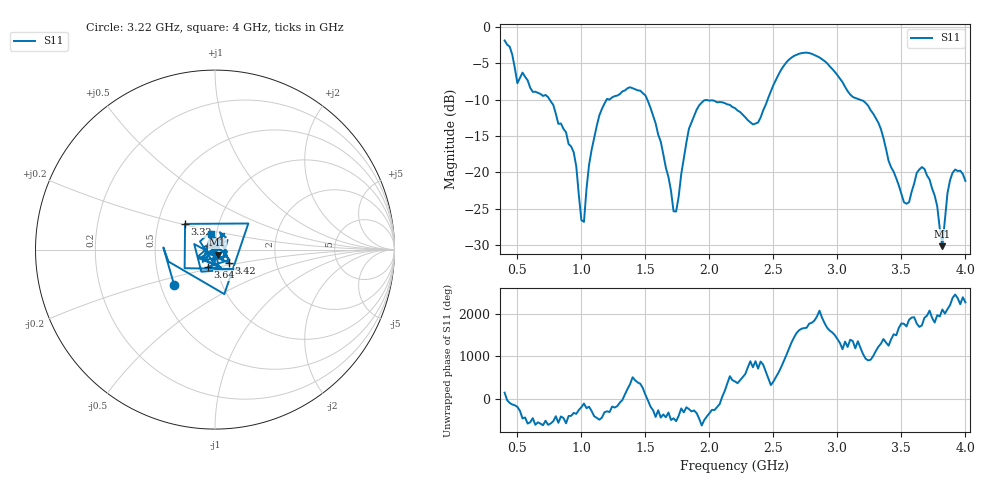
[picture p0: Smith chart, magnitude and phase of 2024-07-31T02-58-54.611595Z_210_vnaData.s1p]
!Created with skrf (http://scikit-rf.org).
# Hz S RI R 50.0
!freq ReS11 ImS11
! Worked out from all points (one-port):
!   181 points, 400 MHz to 4 GHz, reference 50 ohm
!   lowest |S11| = -30.2 dB at 3.82 GHz (marker M1), VSWR 1.06, Z = 51.3 - j2.84 ohm
!   |S11| at or under -10 dB: 752.2 MHz to 1.197 GHz (444.3 MHz wide, 45.6 % of centre); 1.515 GHz to 2.454 GHz (939.4 MHz wide, 47.3 % of centre); 3.177 GHz to end of sweep
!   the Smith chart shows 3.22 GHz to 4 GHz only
!   S11 on the Smith chart (normalised r, x): 3.22 GHz: 0.59, -0.26; 3.32 GHz: 0.69, +0.21; 3.42 GHz: 1.16, -0.18; 3.64 GHz: 0.91, -0.18; 4 GHz: 0.94, +0.16
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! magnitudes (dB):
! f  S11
! 400 MHz  -1.8
! 500 MHz  -7.7
! 740 MHz  -9.7
! 860 MHz  -14.0
! 940 MHz  -17.3
! 1.02 GHz  -26.8
! 1.06 GHz  -18.9
! 1.14 GHz  -12.2
! 1.3 GHz  -9.2
! 1.5 GHz  -9.4
! 1.62 GHz  -15.8
! 1.72 GHz  -25.4
! 1.76 GHz  -23.3
! 1.84 GHz  -14.0
! 1.92 GHz  -10.8
! 2.2 GHz  -11.2
! 2.38 GHz  -13.1
! 2.66 GHz  -4.0
! 3.1 GHz  -9.3
! 3.22 GHz  -10.4
! 3.32 GHz  -13.2
! 3.42 GHz  -19.3
! 3.56 GHz  -24.1
! 3.64 GHz  -19.6
! 3.76 GHz  -23.2
! 3.82 GHz  -30.2
! 3.9 GHz  -20.0
! 4 GHz  -21.2
